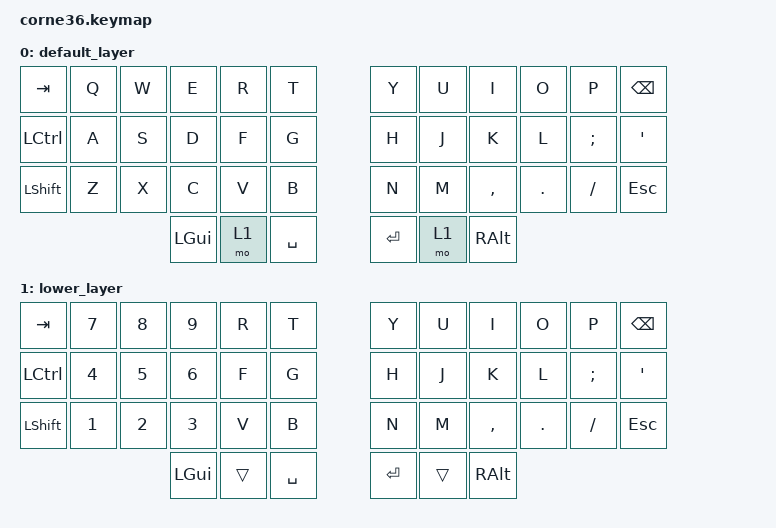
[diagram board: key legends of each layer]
/*
 * Copyright (c) 2020 The ZMK Contributors
 *
 * SPDX-License-Identifier: MIT
 */

#include <behaviors.dtsi>
#include <dt-bindings/zmk/keys.h>
#include <dt-bindings/zmk/bt.h>

/ {
        
        keymap {
                compatible = "zmk,keymap";

                default_layer {
// -----------------------------------------------------------------------------------------
// |  TAB |  Q  |  W  |  E  |  R  |  T  |   |  Y  |  U   |  I  |  O  |  P  | BSPC |
// | CTRL |  A  |  S  |  D  |  F  |  G  |   |  H  |  J   |  K  |  L  |  ;  |  '   |
// | SHFT |  Z  |  X  |  C  |  V  |  B  |   |  N  |  M   |  ,  |  .  |  /  | ESC  |
//                    | GUI | LWR | SPC |   | ENT | RSE  | ALT |
                        bindings = <
   &kp TAB   &kp Q &kp W &kp E &kp R &kp T   &kp Y &kp U  &kp I     &kp O   &kp P    &kp BSPC
   &kp LCTRL &kp A &kp S &kp D &kp F &kp G   &kp H &kp J  &kp K     &kp L   &kp SEMI &kp SQT
   &kp LSHFT &kp Z &kp X &kp C &kp V &kp B   &kp N &kp M  &kp COMMA &kp DOT &kp FSLH &kp ESC
                  &kp LGUI &mo 1 &kp SPACE   &kp RET &mo 1 &kp RALT
                        >;
                };
                lower_layer {
// -----------------------------------------------------------------------------------------
// |  TAB |  1  |  2  |  3  |  4  |  5  |   |  6  |  7  |  8  |  9  |  0  | BSPC |
// | BTCLR| BT1 | BT2 | BT3 | BT4 | BT5 |   | LFT | DWN |  UP | RGT |     |      |
// | SHFT |     |     |     |     |     |   |     |     |     |     |     |      |
//                    | GUI |     | SPC |   | ENT |     | ALT |
                        bindings = <
   &kp TAB   &kp N7 &kp N8 &kp N9 &kp R &kp T   &kp Y &kp U  &kp I     &kp O   &kp P    &kp BSPC
   &kp LCTRL &kp N4 &kp N5 &kp N6 &kp F &kp G   &kp H &kp J  &kp K     &kp L   &kp SEMI &kp SQT
   &kp LSHFT &kp N1 &kp N2 &kp N3 &kp V &kp B   &kp N &kp M  &kp COMMA &kp DOT &kp FSLH &kp ESC
                  &kp LGUI &trans  &kp SPACE   &kp RET &trans &kp RALT
                        >;
                };
        };
};
